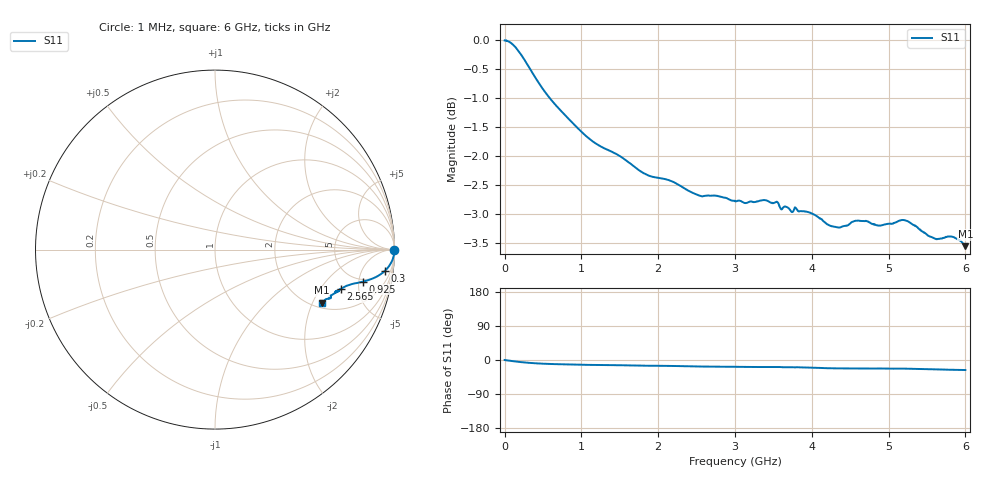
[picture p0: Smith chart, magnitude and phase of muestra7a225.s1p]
! COPPER MOUNTAIN TECHNOLOGIES, R60, 23103002, 24.3.3/3.0
! Date: 23/10/2026 12:16:26
! Data: Format [Calibration Info]
! Frequency		S11: Re/Im RO
# HZ S RI R 50
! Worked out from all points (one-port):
!   1280 points, 1 MHz to 6 GHz, reference 50 ohm
!   lowest |S11| = -3.6 dB at 6 GHz (marker M1), VSWR 4.95, Z = 111 - j117 ohm
!   |S11| at or under -10 dB: nowhere
!   S11 on the Smith chart (normalised r, x): 1 MHz: open; 300 MHz: 5, -14; 925 MHz: 4.61, -5.70; 2.565 GHz: 3.35, -3.17; 6 GHz: 2.22, -2.35
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1000000  1 -0.000411
1e8  0.992 -0.0488
2.15e8  0.9677 -0.0947
3e8  0.9452 -0.1195
3.9e8  0.9209 -0.1386
4.9e8  0.8968 -0.1525
7.55e8  0.8494 -0.1715
9.25e8  0.8245 -0.1782
1.165e9  0.7952 -0.1853
1.505e9  0.7712 -0.1898
1.84e9  0.7399 -0.1993
2.255e9  0.7218 -0.2074
2.565e9  0.7 -0.2187
2.77e9  0.6997 -0.2215
3.005e9  0.6899 -0.2257
3.4e9  0.6898 -0.231
3.755e9  0.6707 -0.2367
3.965e9  0.6674 -0.2427
4.27e9  0.6408 -0.258
4.37e9  0.6378 -0.261
4.505e9  0.643 -0.264
4.61e9  0.6466 -0.2646
4.885e9  0.6394 -0.2636
5.165e9  0.6451 -0.2698
5.255e9  0.6424 -0.2714
5.61e9  0.6129 -0.2797
5.785e9  0.61 -0.2933
6e9  0.5944 -0.2958
